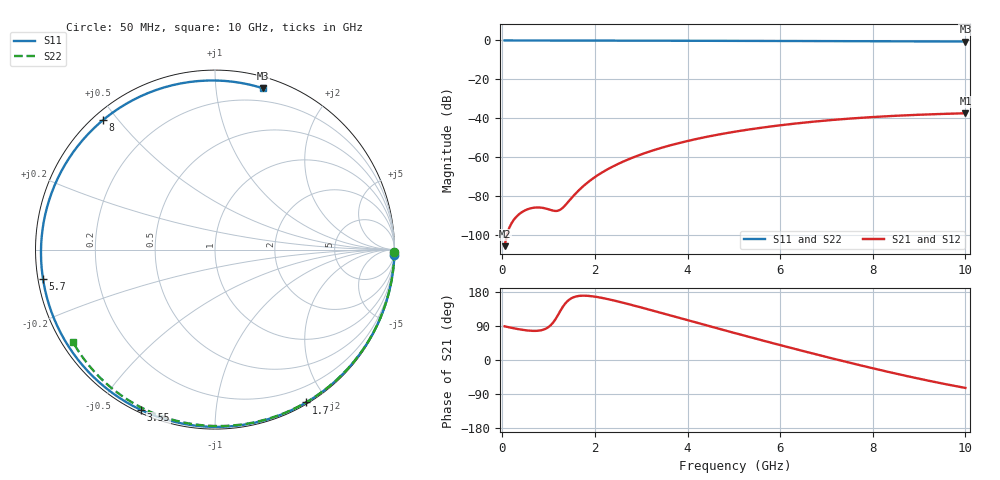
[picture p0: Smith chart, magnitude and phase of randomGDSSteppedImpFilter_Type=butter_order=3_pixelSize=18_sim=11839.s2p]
! freq	dB(S11)	phase(S11)	dB(S12)	phase(S12)
!  dB(S21)	phase(S21)	dB(S22)	phase(S22)
!S-par simulation data
#  GHz  S  DB  R 50
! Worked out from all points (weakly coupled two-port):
!   200 points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, 50 MHz to 10 GHz, reference 50 ohm
!   highest |S21| = -37.50 dB at 10 GHz (marker M1); lowest = -106.0 dB at 50 MHz (marker M2)
!   lowest |S11| = -0.6 dB at 10 GHz (marker M3), VSWR 31.08, Z = 4.49 + j66.9 ohm
!   |S11| at or under -10 dB: nowhere
!   |S22| runs from -0.5 to 0.0 dB; largest |S21 - S12| = 0
!   S11 on the Smith chart (normalised r, x): 50 MHz: 0, -63; 1.7 GHz: 0.02, -1.76; 3.55 GHz: 0.01, -0.64; 5.7 GHz: 0.01, -0.08; 8 GHz: 0.03, +0.46; 10 GHz: 0.09, +1.34
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0.05  -0.00 -1.8  -105.95 88.8  -105.95 88.8  -0.00 -0.9
0.4  -0.02 -14.4  -88.80 80.3  -88.80 80.3  -0.01 -6.8
0.75  -0.03 -26.8  -86.01 77.0  -86.01 77.0  -0.02 -12.7
1.5  -0.07 -52.5  -81.02 163.4  -81.02 163.4  -0.03 -25.3
1.55  -0.07 -54.2  -79.69 166.1  -79.69 166.1  -0.03 -26.1
1.7  -0.07 -59.1  -76.08 169.5  -76.08 169.5  -0.04 -28.6
1.75  -0.07 -60.8  -75.00 169.8  -75.00 169.8  -0.04 -29.4
2.05  -0.09 -70.4  -69.57 166.2  -69.57 166.2  -0.04 -34.4
2.45  -0.10 -82.9  -64.17 155.9  -64.17 155.9  -0.05 -40.9
2.9  -0.12 -96.4  -59.56 141.9  -59.56 141.9  -0.06 -48.1
3.4  -0.13 -110.6  -55.56 125.3  -55.56 125.3  -0.07 -55.9
3.55  -0.14 -114.8  -54.52 120.3  -54.52 120.3  -0.08 -58.2
4.3  -0.17 -134.9  -50.19 95.1  -50.19 95.1  -0.10 -69.6
5.05  -0.21 -154.1  -46.88 70.1  -46.88 70.1  -0.12 -80.7
5.7  -0.24 -170.4  -44.60 48.9  -44.60 48.9  -0.15 -89.9
6.2  -0.28 177.2  -43.14 33.0  -43.14 33.0  -0.17 -96.9
6.7  -0.31 164.6  -41.88 17.3  -41.88 17.3  -0.20 -103.7
7.35  -0.36 148.0  -40.52 -2.6  -40.52 -2.6  -0.24 -112.5
8  -0.41 130.8  -39.45 -21.8  -39.45 -21.8  -0.29 -121.0
8.35  -0.44 121.3  -38.98 -31.8  -38.98 -31.8  -0.32 -125.6
9.2  -0.50 97.2  -38.09 -54.5  -38.09 -54.5  -0.40 -136.6
10  -0.56 73.4  -37.50 -73.7  -37.50 -73.7  -0.50 -146.9
